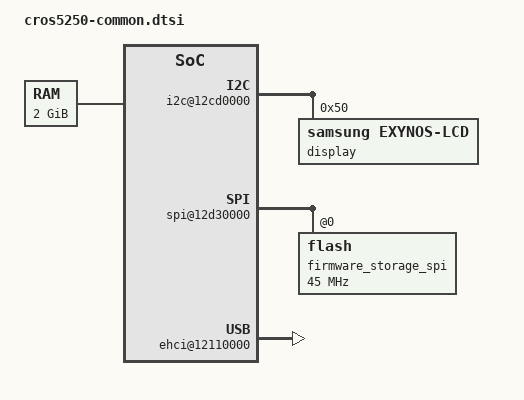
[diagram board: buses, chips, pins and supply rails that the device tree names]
/*
 * Common device tree include for all Exynos 5250 boards based off Daisy.
 *
 * Copyright (c) 2012 Samsung Electronics Co., Ltd.
 *		http://www.samsung.com
 *
 * This program is free software; you can redistribute it and/or modify
 * it under the terms of the GNU General Public License version 2 as
 * published by the Free Software Foundation.
*/

/ {
	aliases {
		console = "/serial@12C30000";
		serial0 = "/serial@12C30000";
		sdmmc0 = "/mshci@12200000";
		sdmmc1 = "/mshci@12220000";
		spi0 = "/spi@12d20000";
		spi1 = "/spi@12d30000";
		spi2 = "/spi@12d40000";
		spi3 = "/spi@131a0000";
		spi4 = "/spi@131b0000";
		i2c0 = "/i2c@12c60000";
		i2c1 = "/i2c@12c70000";
		i2c2 = "/i2c@12c80000";
		i2c3 = "/i2c@12c90000";
		i2c4 = "/i2c@12ca0000";
		i2c5 = "/i2c@12cb0000";
		i2c6 = "/i2c@12cc0000";
		i2c7 = "/i2c@12cd0000";
	};

	tmu@10060000 {
		samsung,mux		= <6>;
		samsung,min-temp	= <25>;
		samsung,max-temp	= <125>;
		samsung,start-warning	= <95>;
		samsung,start-tripping	= <105>;
		samsung,hw-tripping	= <110>;
		samsung,efuse-min-value	= <40>;
		samsung,efuse-value	= <55>;
		samsung,efuse-max-value	= <100>;
		samsung,slope		= <268470274>;
		samsung,dc-value	= <25>;
	};

	serial@12C30000 {
		id = <3>;
	};

	config {
		google,bad-wake-gpios = <&gpio 0x70 0>;
		hwid = "DAISY TEST A-A 9382";
		machine-arch-id = <3774>;
	};

	chromeos-config {
		virtual-dev-switch;

		vboot-flag-write-protect {
			compatible = "google,gpio-flag";
			gpio = <&gpio 102 1>;
		};
		vboot-flag-developer {
			compatible = "google,const-flag";
			value = <0>;
		};
		vboot-flag-lid-open {
			compatible = "google,gpio-flag";
			gpio = <&gpio 189 0>;
		};
		vboot-flag-power-off {
			compatible = "google,gpio-flag";
			gpio = <&gpio 171 1>;
		};
		vboot-flag-oprom-loaded {
			compatible = "google,const-flag";
			value = <0>;
		};
		vboot-flag-ec-in-rw {
			compatible = "google,gpio-flag";
			gpio = <&gpio 103 0>;
		};
	};

	memory {
		reg = <0x40000000 0x80000000>;
	};

	ramoops {
		reg = <0x41f00000 0x00100000>;
	};

	sdhci@12200000 {
		status = "disabled";
	};

	sdhci@12210000 {
		status = "disabled";
	};

	sdhci@12220000 {
		samsung,sdhci-bus-width = <4>;
	};

	sdhci@12230000 {
		status = "disabled";
	};

        mmc@12200000 {
                samsung,bus-width = <8>;
                samsung,timing = <1 3 3>;
                samsung,removable = <0>;
                enable-gpios = <&gpio 58 0>;
        };

        mmc@12210000 {
                status = "disabled";
        };

        mmc@12220000 {
                samsung,bus-width = <4>;
                samsung,timing = <1 2 3>;
                samsung,removable = <1>;
        };

        mmc@12230000 {
                status = "disabled";
        };


	dmc@10C00000 {
		mem-interleave-size = <0x1f>;
		mem-type = "ddr3";
		clock-frequency = <800000000>;
		arm-frequency = <1700000000>;
	};

	i2c@12cd0000 {
		display@50 {
			reg = <0x50>;
			compatible = "samsung,exynos-lcd";
		};
	};

	spi@12d30000 {
		/*
		 * 50MHz seems to be unreliable on DVT machines; so fall back
		 * to 45MHz for now.
		 */
		spi-max-frequency = <45000000>;
		firmware_storage_spi: flash@0 {
			bus = <1>;
			spi-max-frequency = <45000000>;
		};
	};

	sound@12d60000 {
		samsung,i2s-epll-clock-frequency = <192000000>;
		samsung,i2s-sampling-rate = <48000>;
		samsung,i2s-bits-per-sample = <16>;
		samsung,i2s-channels = <2>;
		samsung,i2s-lr-clk-framesize = <256>;
		samsung,i2s-bit-clk-framesize = <32>;

		codec-enable-gpio = <&gpio 0xb7 0>;
	};

	ehci@12110000 {
		compatible = "samsung,exynos-ehci", "usb-ehci";
		reg = <0x12110000 0x100>;
	};

	cros-ec-keyb {
		compatible = "google,cros-ec-keyb";
		google,key-rows = <8>;
		google,key-columns = <13>;
		google,repeat-delay-ms = <240>;
		google,repeat-rate-ms = <30>;
		google,ghost-filter;
		/*
		 * Keymap entries take the form of 0xRRCCKKKK where
		 * RR=Row CC=Column KKKK=Key Code
		 * The values below are for a US keyboard layout and
		 * are taken from the Linux driver. Note that the
		 * 102ND key is not used for US keyboards.
		 */
		linux,keymap = <
			/* CAPSLCK F1         B          F10     */
			0x0001003a 0x0002003b 0x00030030 0x00040044
			/* N       =          R_ALT      ESC     */
			0x00060031 0x0008000d 0x000a0064 0x01010001
			/* F4      G          F7         H       */
			0x0102003e 0x01030022 0x01040041 0x01060023
			/* '       F9         BKSPACE    L_CTRL  */
			0x01080028 0x01090043 0x010b000e 0x0200001d
			/* TAB     F3         T          F6      */
			0x0201000f 0x0202003d 0x02030014 0x02040040
			/* ]       Y          102ND      [       */
			0x0205001b 0x02060015 0x02070056 0x0208001a
			/* F8      GRAVE      F2         5       */
			0x02090042 0x03010029 0x0302003c 0x03030006
			/* F5      6          -          \       */
			0x0304003f 0x03060007 0x0308000c 0x030b002b
			/* R_CTRL  A          D          F       */
			0x04000061 0x0401001e 0x04020020 0x04030021
			/* S       K          J          ;       */
			0x0404001f 0x04050025 0x04060024 0x04080027
			/* L       ENTER      Z          C       */
			0x04090026 0x040b001c 0x0501002c 0x0502002e
			/* V       X          ,          M       */
			0x0503002f 0x0504002d 0x05050033 0x05060032
			/* L_SHIFT /          .          SPACE   */
			0x0507002a 0x05080035 0x05090034 0x050B0039
			/* 1       3          4          2       */
			0x06010002 0x06020004 0x06030005 0x06040003
			/* 8       7          0          9       */
			0x06050009 0x06060008 0x0608000b 0x0609000a
			/* L_ALT   DOWN       RIGHT      Q       */
			0x060a0038 0x060b006c 0x060c006a 0x07010010
			/* E       R          W          I       */
			0x07020012 0x07030013 0x07040011 0x07050017
			/* U       R_SHIFT    P          O       */
			0x07060016 0x07070036 0x07080019 0x07090018
			/* UP      LEFT    */
			0x070b0067 0x070c0069>;
	};
};
